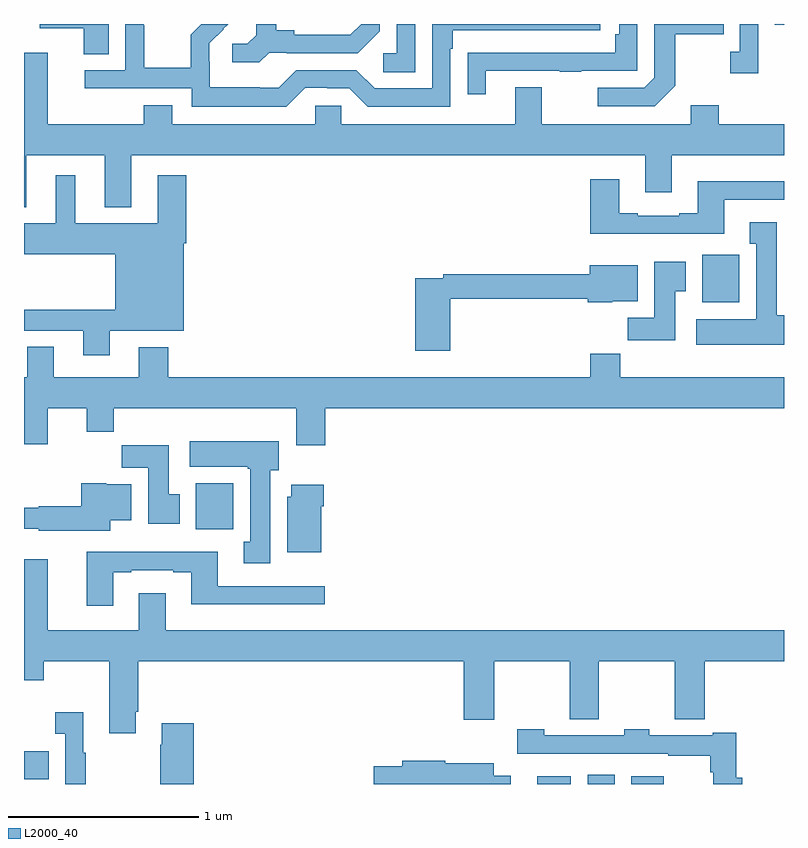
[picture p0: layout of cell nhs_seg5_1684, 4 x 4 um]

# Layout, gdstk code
import gdstk
lib = gdstk.Library(unit=1e-6, precision=1e-09)
def R(c, l, rs):  # rectangles x0, y0, x1, y1
    for r in rs: c.add(gdstk.rectangle(r[:2], r[2:], *l))
def P(c, l, *ps):  # polygons
    for p in ps: c.add(gdstk.Polygon(p, *l))
L2000_40 = (2000, 40)

nhs_seg5_1684 = lib.new_cell('nhs_seg5_1684')
R(nhs_seg5_1684, L2000_40, [(215.702,838.799,215.878,838.84), (215.966,838.799,216.109,838.849), (216.197,838.799,216.367,838.84), (213,838.823,213.131,838.971), (213.905,840.14,214.102,840.382), (216.569,841.334,216.765,841.585), (216.951,842.795,217,842.799)])
P(nhs_seg5_1684, L2000_40, [(213.445,842.799),(213.084,842.799),(213.084,842.777),(213.314,842.777),(213.314,842.641),(213.445,842.641)],
  [(216.427,842.473),(216.427,842.746),(216.683,842.746),(216.683,842.799),(216.318,842.799),(216.318,842.517),(216.264,842.463),(216.021,842.463),(216.021,842.367),(216.321,842.367)],
  [(214.29,842.649),(214.384,842.649),(214.384,842.646),(214.756,842.646),(214.872,842.762),(214.872,842.799),(214.775,842.799),(214.718,842.742),(214.423,842.742),(214.423,842.765),(214.327,842.765),(214.327,842.799),(214.223,842.799),(214.223,842.741),(214.176,842.694),(214.095,842.694),(214.095,842.597),(214.238,842.597)],
  [(216.864,842.799),(216.768,842.799),(216.768,842.654),(216.717,842.654),(216.717,842.541),(216.864,842.541)],
  [(215.058,842.799),(214.962,842.799),(214.962,842.646),(214.89,842.646),(214.89,842.545),(215.058,842.545)],
  [(215.431,842.553),(215.821,842.553),(215.821,842.548),(215.933,842.548),(215.933,842.553),(216.228,842.553),(216.228,842.799),(216.132,842.799),(216.132,842.746),(216.112,842.746),(216.112,842.649),(215.437,842.649),(215.437,842.648),(215.335,842.648),(215.335,842.43),(215.431,842.43)],
  [(214.479,842.463),(214.595,842.463),(214.595,842.46),(214.713,842.46),(214.809,842.364),(215.244,842.364),(215.244,842.669),(215.257,842.669),(215.257,842.766),(216.034,842.766),(216.034,842.799),(215.148,842.799),(215.148,842.46),(214.845,842.46),(214.749,842.556),(214.434,842.556),(214.341,842.463),(214.241,842.463),(214.241,842.467),(213.978,842.467),(213.978,842.601),(213.976,842.601),(213.976,842.698),(214.05,842.772),(214.049,842.773),(214.075,842.799),(213.933,842.799),(213.877,842.743),(213.877,842.569),(213.633,842.569),(213.633,842.792),(213.63,842.792),(213.63,842.799),(213.534,842.799),(213.534,842.556),(213.321,842.556),(213.321,842.46),(213.882,842.46),(213.882,842.363),(214.379,842.363)],
  [(215.725,842.467),(215.585,842.467),(215.585,842.272),(214.671,842.272),(214.671,842.37),(214.533,842.37),(214.533,842.272),(213.781,842.272),(213.781,842.371),(213.629,842.371),(213.629,842.272),(213.124,842.272),(213.124,842.647),(213,842.647),(213,841.835),(213.013,841.835),(213.013,842.108),(213.425,842.108),(213.425,841.835),(213.565,841.835),(213.565,842.108),(216.269,842.108),(216.269,841.914),(216.409,841.914),(216.409,842.108),(217,842.108),(217,842.272),(216.657,842.272),(216.657,842.371),(216.509,842.371),(216.509,842.272),(215.725,842.272)],
  [(213.451,841.184),(213.841,841.184),(213.841,841.646),(213.854,841.646),(213.854,842.002),(213.704,842.002),(213.704,841.75),(213.271,841.75),(213.271,842.002),(213.167,842.002),(213.167,841.75),(213,841.75),(213,841.586),(213.479,841.586),(213.479,841.294),(213,841.294),(213,841.185),(213.311,841.185),(213.311,841.056),(213.451,841.056)],
  [(216.685,841.875),(217,841.875),(217,841.972),(216.545,841.972),(216.545,841.804),(216.449,841.804),(216.449,841.791),(216.229,841.791),(216.229,841.804),(216.133,841.804),(216.133,841.981),(215.981,841.981),(215.981,841.694),(216.685,841.694)],
  [(217,841.266),(216.961,841.266),(216.961,841.756),(216.821,841.756),(216.821,841.643),(216.854,841.643),(216.854,841.246),(216.537,841.246),(216.537,841.112),(217,841.112)],
  [(216.427,841.393),(216.484,841.393),(216.484,841.549),(216.317,841.549),(216.317,841.252),(216.178,841.252),(216.178,841.134),(216.427,841.134)],
  [(215.243,841.353),(215.966,841.353),(215.966,841.334),(216.096,841.334),(216.096,841.34),(216.229,841.34),(216.229,841.528),(215.978,841.528),(215.978,841.481),(215.206,841.481),(215.206,841.461),(215.06,841.461),(215.06,841.08),(215.243,841.08)],
  [(214.586,840.776),(217,840.776),(217,840.94),(216.137,840.94),(216.137,841.064),(215.981,841.064),(215.981,840.94),(213.758,840.94),(213.758,841.099),(213.605,841.099),(213.605,840.94),(213.157,840.94),(213.157,841.1),(213.017,841.1),(213.017,840.94),(213,840.94),(213,840.588),(213.124,840.588),(213.124,840.776),(213.329,840.776),(213.329,840.652),(213.473,840.652),(213.473,840.776),(214.433,840.776),(214.433,840.582),(214.586,840.582)],
  [(214.297,840.45),(214.342,840.45),(214.342,840.604),(213.873,840.604),(213.873,840.47),(214.177,840.47),(214.177,840.457),(214.19,840.457),(214.19,840.074),(214.157,840.074),(214.157,839.961),(214.297,839.961)],
  [(213.82,840.324),(213.763,840.324),(213.763,840.583),(213.514,840.583),(213.514,840.464),(213.653,840.464),(213.653,840.168),(213.82,840.168)],
  [(213.454,840.188),(213.565,840.188),(213.565,840.376),(213.432,840.376),(213.432,840.382),(213.302,840.382),(213.302,840.261),(213.078,840.261),(213.078,840.253),(213,840.253),(213,840.143),(213.078,840.143),(213.078,840.131),(213.454,840.131)],
  [(214.564,840.26),(214.577,840.26),(214.577,840.373),(214.406,840.373),(214.406,840.312),(214.385,840.312),(214.385,840.02),(214.564,840.02)],
  [(213.469,839.913),(213.565,839.913),(213.565,839.925),(213.785,839.925),(213.785,839.913),(213.881,839.913),(213.881,839.744),(214.582,839.744),(214.582,839.841),(214.021,839.841),(214.021,840.022),(213.329,840.022),(213.329,839.736),(213.469,839.736)],
  [(213.745,839.803),(213.605,839.803),(213.605,839.608),(213.124,839.608),(213.124,839.983),(213,839.983),(213,839.345),(213.105,839.345),(213.105,839.444),(213.449,839.444),(213.449,839.067),(213.589,839.067),(213.589,839.179),(213.602,839.179),(213.602,839.444),(215.315,839.444),(215.315,839.136),(215.475,839.136),(215.475,839.444),(215.872,839.444),(215.872,839.14),(216.026,839.14),(216.026,839.444),(216.424,839.444),(216.424,839.14),(216.584,839.14),(216.584,839.444),(217,839.444),(217,839.608),(213.745,839.608)],
  [(213.325,838.963),(213.313,838.963),(213.313,839.176),(213.165,839.176),(213.165,839.063),(213.216,839.063),(213.216,838.799),(213.325,838.799)],
  [(213.893,839.119),(213.725,839.119),(213.725,839.006),(213.718,839.006),(213.718,838.799),(213.893,838.799)],
  [(216.779,838.831),(216.749,838.831),(216.749,839.068),(216.626,839.068),(216.626,839.055),(216.291,839.055),(216.291,839.088),(216.159,839.088),(216.159,839.055),(215.739,839.055),(215.739,839.088),(215.595,839.088),(215.595,838.959),(216.391,838.959),(216.391,838.947),(216.613,838.947),(216.613,838.862),(216.628,838.862),(216.628,838.799),(216.779,838.799)],
  [(215.563,838.843),(215.473,838.843),(215.473,838.909),(215.216,838.909),(215.216,838.922),(214.991,838.922),(214.991,838.892),(214.842,838.892),(214.842,838.799),(215.563,838.799)])

lib.write_gds('nhs_seg5_1684.gds')
